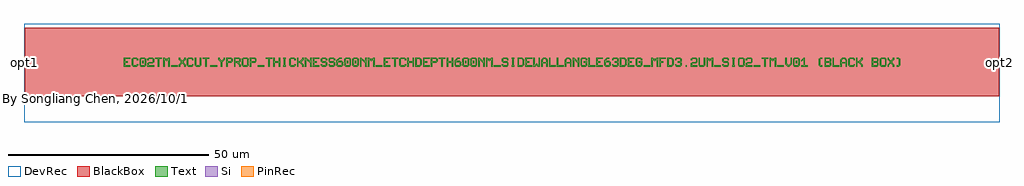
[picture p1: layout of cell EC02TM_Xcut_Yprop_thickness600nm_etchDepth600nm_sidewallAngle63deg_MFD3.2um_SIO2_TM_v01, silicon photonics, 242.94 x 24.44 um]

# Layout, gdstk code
import gdstk
lib = gdstk.Library(unit=1e-6, precision=1e-10)
def R(c, l, rs):  # rectangles x0, y0, x1, y1
    for r in rs: c.add(gdstk.rectangle(r[:2], r[2:], *l))
def A(c, l, x, y, w, h, nx, ny, dx, dy):  # array of equal rectangles
    R(c, l, [(x+i*dx, y+j*dy, x+i*dx+w, y+j*dy+h) for i in range(nx) for j in range(ny)])
def P(c, l, *ps):  # polygons
    for p in ps: c.add(gdstk.Polygon(p, *l))
Si = (1, 0)
PinRec = (1, 10)
Text = (10, 0)
DevRec = (68, 0)
BlackBox = (998, 0)

text_1 = lib.new_cell('TEXT$1')
A(text_1, Text, 33.32, 0, 1.633, 0.327, 3, 1, 29.4, 0)
R(text_1, Text, [(11.76,0,13.393,0.327), (21.56,0,23.193,0.327), (129.36,0,130.993,0.327), (139.813,0,140.14,0.327), (147,0,148.633,0.327), (156.8,0,158.433,0.327), (162.68,0,164.313,0.327), (4.573,0.817,4.9,1.47), (55.533,0.817,55.86,1.47), (57.493,0.817,57.82,1.47), (84.933,0.817,85.26,1.47), (86.893,0.817,87.22,1.47), (167.253,0.817,167.58,1.47)])
P(text_1, Text, [(96.53,0),(96.53,0.327),(96.693,0.327),(96.693,1.96),(96.53,1.96),(96.53,2.286),(97.183,2.286),(97.183,1.96),(97.02,1.96),(97.02,0.327),(97.183,0.327),(97.183,0)],
  [(98,0),(98,2.286),(99.143,2.286),(99.47,1.96),(98.327,1.96),(98.327,0.327),(98.98,0.327),(99.307,0.653),(99.307,1.633),(98.98,1.96),(99.47,1.96),(99.633,1.796),(99.633,0.49),(99.143,0)],
  [(99.96,0),(99.96,2.286),(101.593,2.286),(101.593,1.96),(100.287,1.96),(100.287,1.307),(100.94,1.307),(100.94,0.98),(100.287,0.98),(100.287,0.327),(101.593,0.327),(101.593,0)],
  [(101.92,0),(101.92,2.286),(102.247,2.286),(102.247,0.49),(102.41,0.49),(102.737,0.817),(103.063,0.49),(103.227,0.49),(103.227,2.286),(103.553,2.286),(103.553,0),(103.063,0),(102.737,0.327),(102.41,0)],
  [(103.88,0),(103.88,1.796),(104.37,2.286),(105.023,2.286),(105.35,1.96),(104.533,1.96),(104.207,1.633),(104.207,1.143),(105.187,1.143),(105.187,1.633),(104.86,1.96),(105.35,1.96),(105.513,1.796),(105.513,0),(105.187,0),(105.187,0.817),(104.207,0.817),(104.207,0)],
  [(105.84,0),(105.84,2.286),(106.167,2.286),(106.167,0.327),(107.473,0.327),(107.473,0)],
  [(107.8,0),(107.8,2.286),(108.127,2.286),(108.127,0.327),(109.433,0.327),(109.433,0)],
  [(109.76,0),(109.76,1.796),(110.25,2.286),(110.903,2.286),(111.23,1.96),(110.413,1.96),(110.087,1.633),(110.087,1.143),(111.067,1.143),(111.067,1.633),(110.74,1.96),(111.23,1.96),(111.393,1.796),(111.393,0),(111.067,0),(111.067,0.817),(110.087,0.817),(110.087,0)],
  [(111.72,0),(111.72,2.286),(112.047,2.286),(112.863,1.47),(113.027,1.47),(113.027,2.286),(113.353,2.286),(113.353,0),(113.027,0),(113.027,0.817),(112.21,1.633),(112.047,1.633),(112.047,0)],
  [(114.007,0),(113.68,0.327),(113.68,1.96),(114.007,2.286),(114.987,2.286),(115.313,1.96),(115.313,1.633),(114.987,1.633),(114.987,1.796),(114.823,1.96),(114.17,1.96),(114.007,1.796),(114.007,0.49),(114.17,0.327),(114.823,0.327),(114.987,0.49),(114.987,0.98),(114.497,0.98),(114.497,1.307),(115.313,1.307),(115.313,0.327),(114.987,0)],
  [(115.64,0),(115.64,2.286),(115.967,2.286),(115.967,0.327),(117.273,0.327),(117.273,0)],
  [(117.6,0),(117.6,2.286),(119.233,2.286),(119.233,1.96),(117.927,1.96),(117.927,1.307),(118.58,1.307),(118.58,0.98),(117.927,0.98),(117.927,0.327),(119.233,0.327),(119.233,0)],
  [(119.887,0),(119.56,0.327),(119.56,1.633),(120.213,2.286),(120.867,2.286),(120.867,1.96),(120.377,1.96),(120.05,1.633),(120.05,1.47),(120.867,1.47),(121.193,1.143),(120.05,1.143),(119.887,0.98),(119.887,0.49),(120.05,0.327),(120.703,0.327),(120.867,0.49),(120.867,0.98),(120.703,1.143),(121.193,1.143),(121.193,0.327),(120.867,0)],
  [(121.847,0),(121.52,0.327),(121.52,0.653),(121.847,0.653),(121.847,0.49),(122.01,0.327),(122.663,0.327),(122.827,0.49),(122.827,0.817),(122.663,0.98),(122.173,0.98),(122.173,1.307),(122.663,1.307),(122.827,1.47),(122.827,1.796),(122.663,1.96),(122.01,1.96),(121.847,1.796),(121.847,1.633),(121.52,1.633),(121.52,1.96),(121.847,2.286),(122.827,2.286),(123.153,1.96),(123.153,1.307),(122.99,1.143),(123.153,0.98),(123.153,0.327),(122.827,0)],
  [(123.48,0),(123.48,2.286),(124.623,2.286),(124.95,1.96),(123.807,1.96),(123.807,0.327),(124.46,0.327),(124.787,0.653),(124.787,1.633),(124.46,1.96),(124.95,1.96),(125.113,1.796),(125.113,0.49),(124.623,0)],
  [(125.44,0),(125.44,2.286),(127.073,2.286),(127.073,1.96),(125.767,1.96),(125.767,1.307),(126.42,1.307),(126.42,0.98),(125.767,0.98),(125.767,0.327),(127.073,0.327),(127.073,0)],
  [(127.727,0),(127.4,0.327),(127.4,1.96),(127.727,2.286),(128.707,2.286),(129.033,1.96),(129.033,1.633),(128.707,1.633),(128.707,1.796),(128.543,1.96),(127.89,1.96),(127.727,1.796),(127.727,0.49),(127.89,0.327),(128.543,0.327),(128.707,0.49),(128.707,0.98),(128.217,0.98),(128.217,1.307),(129.033,1.307),(129.033,0.327),(128.707,0)],
  [(131.32,0),(131.32,2.286),(131.647,2.286),(131.973,1.96),(132.3,1.96),(132.627,2.286),(132.953,2.286),(132.953,0),(132.627,0),(132.627,1.633),(132.463,1.633),(132.137,1.307),(131.81,1.633),(131.647,1.633),(131.647,0)],
  [(133.28,0),(133.28,2.286),(134.913,2.286),(134.913,1.96),(133.607,1.96),(133.607,1.307),(134.26,1.307),(134.26,0.98),(133.607,0.98),(133.607,0)],
  [(135.24,0),(135.24,2.286),(136.383,2.286),(136.71,1.96),(135.567,1.96),(135.567,0.327),(136.22,0.327),(136.547,0.653),(136.547,1.633),(136.22,1.96),(136.71,1.96),(136.873,1.796),(136.873,0.49),(136.383,0)],
  [(137.527,0),(137.2,0.327),(137.2,0.653),(137.527,0.653),(137.527,0.49),(137.69,0.327),(138.343,0.327),(138.507,0.49),(138.507,0.817),(138.343,0.98),(137.853,0.98),(137.853,1.307),(138.343,1.307),(138.507,1.47),(138.507,1.796),(138.343,1.96),(137.69,1.96),(137.527,1.796),(137.527,1.633),(137.2,1.633),(137.2,1.96),(137.527,2.286),(138.507,2.286),(138.833,1.96),(138.833,1.307),(138.67,1.143),(138.833,0.98),(138.833,0.327),(138.507,0)],
  [(141.12,0),(141.12,0.817),(141.447,1.143),(142.263,1.143),(142.427,1.307),(142.427,1.796),(142.263,1.96),(141.61,1.96),(141.447,1.796),(141.447,1.633),(141.12,1.633),(141.12,1.96),(141.447,2.286),(142.427,2.286),(142.753,1.96),(142.753,1.143),(142.427,0.817),(141.61,0.817),(141.447,0.653),(141.447,0.327),(142.753,0.327),(142.753,0)],
  [(143.407,0),(143.08,0.327),(143.08,2.286),(143.407,2.286),(143.407,0.49),(143.57,0.327),(144.223,0.327),(144.387,0.49),(144.387,2.286),(144.713,2.286),(144.713,0.327),(144.387,0)],
  [(145.04,0),(145.04,2.286),(145.367,2.286),(145.693,1.96),(146.02,1.96),(146.347,2.286),(146.673,2.286),(146.673,0),(146.347,0),(146.347,1.633),(146.183,1.633),(145.857,1.307),(145.53,1.633),(145.367,1.633),(145.367,0)],
  [(149.287,0),(148.96,0.327),(148.96,0.653),(149.287,0.653),(149.287,0.49),(149.45,0.327),(150.103,0.327),(150.267,0.49),(150.267,0.817),(150.103,0.98),(149.287,0.98),(148.96,1.307),(148.96,1.96),(149.287,2.286),(150.267,2.286),(150.593,1.96),(150.593,1.633),(150.267,1.633),(150.267,1.796),(150.103,1.96),(149.45,1.96),(149.287,1.796),(149.287,1.47),(149.45,1.307),(150.267,1.307),(150.593,0.98),(150.593,0.327),(150.267,0)],
  [(151.41,0),(151.41,0.327),(151.573,0.327),(151.573,1.96),(151.41,1.96),(151.41,2.286),(152.063,2.286),(152.063,1.96),(151.9,1.96),(151.9,0.327),(152.063,0.327),(152.063,0)],
  [(153.207,0),(152.88,0.327),(152.88,1.96),(153.207,2.286),(154.187,2.286),(154.513,1.96),(154.513,1.143),(154.187,1.143),(154.187,1.796),(154.023,1.96),(153.37,1.96),(153.207,1.796),(153.207,0.49),(153.37,0.327),(154.023,0.327),(154.187,0.49),(154.187,1.143),(154.513,1.143),(154.513,0.327),(154.187,0)],
  [(154.84,0),(154.84,0.817),(155.167,1.143),(155.983,1.143),(156.147,1.307),(156.147,1.796),(155.983,1.96),(155.33,1.96),(155.167,1.796),(155.167,1.633),(154.84,1.633),(154.84,1.96),(155.167,2.286),(156.147,2.286),(156.473,1.96),(156.473,1.143),(156.147,0.817),(155.33,0.817),(155.167,0.653),(155.167,0.327),(156.473,0.327),(156.473,0)],
  [(159.413,0),(159.413,1.96),(158.76,1.96),(158.76,2.286),(160.393,2.286),(160.393,1.96),(159.74,1.96),(159.74,0)],
  [(160.72,0),(160.72,2.286),(161.047,2.286),(161.373,1.96),(161.7,1.96),(162.027,2.286),(162.353,2.286),(162.353,0),(162.027,0),(162.027,1.633),(161.863,1.633),(161.537,1.307),(161.21,1.633),(161.047,1.633),(161.047,0)],
  [(165.293,0),(164.64,0.653),(164.64,2.286),(164.967,2.286),(164.967,0.817),(165.457,0.327),(165.947,0.817),(165.947,2.286),(166.273,2.286),(166.273,0.653),(165.62,0)],
  [(166.927,0),(166.6,0.327),(166.6,1.96),(166.927,2.286),(167.907,2.286),(168.233,1.96),(167.09,1.96),(166.927,1.796),(166.927,0.49),(167.09,0.327),(167.743,0.327),(167.907,0.49),(167.907,1.796),(167.743,1.96),(168.233,1.96),(168.233,0.327),(167.907,0)],
  [(168.56,0),(168.56,0.327),(169.213,0.327),(169.213,1.633),(169.05,1.633),(168.723,1.307),(168.56,1.307),(168.56,1.633),(169.213,2.286),(169.54,2.286),(169.54,0.327),(170.193,0.327),(170.193,0)],
  [(173.297,0),(172.97,0.327),(172.97,1.96),(173.297,2.286),(173.787,2.286),(173.787,1.96),(173.46,1.96),(173.297,1.796),(173.297,0.49),(173.46,0.327),(173.787,0.327),(173.787,0)],
  [(174.44,0),(174.44,2.286),(175.747,2.286),(176.073,1.96),(174.767,1.96),(174.767,1.307),(175.583,1.307),(175.747,1.47),(175.747,1.796),(175.583,1.96),(176.073,1.96),(176.073,1.307),(175.91,1.143),(176.073,0.98),(174.767,0.98),(174.767,0.327),(175.583,0.327),(175.747,0.49),(175.747,0.817),(175.583,0.98),(176.073,0.98),(176.073,0.327),(175.747,0)],
  [(176.4,0),(176.4,2.286),(176.727,2.286),(176.727,0.327),(178.033,0.327),(178.033,0)],
  [(178.36,0),(178.36,1.796),(178.85,2.286),(179.503,2.286),(179.83,1.96),(179.013,1.96),(178.687,1.633),(178.687,1.143),(179.667,1.143),(179.667,1.633),(179.34,1.96),(179.83,1.96),(179.993,1.796),(179.993,0),(179.667,0),(179.667,0.817),(178.687,0.817),(178.687,0)],
  [(180.647,0),(180.32,0.327),(180.32,1.96),(180.647,2.286),(181.627,2.286),(181.953,1.96),(181.953,1.633),(181.627,1.633),(181.627,1.796),(181.463,1.96),(180.81,1.96),(180.647,1.796),(180.647,0.49),(180.81,0.327),(181.463,0.327),(181.627,0.49),(181.627,0.653),(181.953,0.653),(181.953,0.327),(181.627,0)],
  [(182.28,0),(182.28,2.286),(182.607,2.286),(182.607,1.307),(182.933,1.307),(183.587,1.96),(183.587,2.286),(183.913,2.286),(183.913,1.796),(183.26,1.143),(183.913,0.49),(183.913,0),(183.587,0),(183.587,0.327),(182.933,0.98),(182.607,0.98),(182.607,0)],
  [(186.2,0),(186.2,2.286),(187.507,2.286),(187.833,1.96),(186.527,1.96),(186.527,1.307),(187.343,1.307),(187.507,1.47),(187.507,1.796),(187.343,1.96),(187.833,1.96),(187.833,1.307),(187.67,1.143),(187.833,0.98),(186.527,0.98),(186.527,0.327),(187.343,0.327),(187.507,0.49),(187.507,0.817),(187.343,0.98),(187.833,0.98),(187.833,0.327),(187.507,0)],
  [(188.487,0),(188.16,0.327),(188.16,1.96),(188.487,2.286),(189.467,2.286),(189.793,1.96),(189.793,1.143),(189.467,1.143),(189.467,1.796),(189.303,1.96),(188.65,1.96),(188.487,1.796),(188.487,0.49),(188.65,0.327),(189.303,0.327),(189.467,0.49),(189.467,1.143),(189.793,1.143),(189.793,0.327),(189.467,0)],
  [(190.12,0),(190.12,0.49),(190.61,0.98),(190.61,1.307),(190.12,1.796),(190.12,2.286),(190.447,2.286),(190.447,1.96),(190.937,1.47),(191.427,1.96),(191.427,2.286),(191.753,2.286),(191.753,1.796),(191.263,1.307),(191.263,0.98),(191.753,0.49),(191.753,0),(191.427,0),(191.427,0.327),(190.937,0.817),(190.447,0.327),(190.447,0)],
  [(192.407,0),(192.407,0.327),(192.733,0.327),(192.897,0.49),(192.897,1.796),(192.733,1.96),(192.407,1.96),(192.407,2.286),(192.897,2.286),(193.223,1.96),(193.223,0.327),(192.897,0)],
  [(88.2,0),(88.2,2.286),(88.527,2.286),(89.343,1.47),(89.507,1.47),(89.507,2.286),(89.833,2.286),(89.833,0),(89.507,0),(89.507,0.817),(88.69,1.633),(88.527,1.633),(88.527,0)],
  [(90.16,0),(90.16,2.286),(90.487,2.286),(90.813,1.96),(91.14,1.96),(91.467,2.286),(91.793,2.286),(91.793,0),(91.467,0),(91.467,1.633),(91.303,1.633),(90.977,1.307),(90.65,1.633),(90.487,1.633),(90.487,0)],
  [(94.407,0),(94.08,0.327),(94.08,0.653),(94.407,0.653),(94.407,0.49),(94.57,0.327),(95.223,0.327),(95.387,0.49),(95.387,0.817),(95.223,0.98),(94.407,0.98),(94.08,1.307),(94.08,1.96),(94.407,2.286),(95.387,2.286),(95.713,1.96),(95.713,1.633),(95.387,1.633),(95.387,1.796),(95.223,1.96),(94.57,1.96),(94.407,1.796),(94.407,1.47),(94.57,1.307),(95.387,1.307),(95.713,0.98),(95.713,0.327),(95.387,0)],
  [(0,0),(0,2.286),(1.633,2.286),(1.633,1.96),(0.327,1.96),(0.327,1.307),(0.98,1.307),(0.98,0.98),(0.327,0.98),(0.327,0.327),(1.633,0.327),(1.633,0)],
  [(2.287,0),(1.96,0.327),(1.96,1.96),(2.287,2.286),(3.267,2.286),(3.593,1.96),(3.593,1.633),(3.267,1.633),(3.267,1.796),(3.103,1.96),(2.45,1.96),(2.287,1.796),(2.287,0.49),(2.45,0.327),(3.103,0.327),(3.267,0.49),(3.267,0.653),(3.593,0.653),(3.593,0.327),(3.267,0)],
  [(4.247,0),(3.92,0.327),(3.92,1.96),(4.247,2.286),(5.227,2.286),(5.553,1.96),(4.41,1.96),(4.247,1.796),(4.247,0.49),(4.41,0.327),(5.063,0.327),(5.227,0.49),(5.227,1.796),(5.063,1.96),(5.553,1.96),(5.553,0.327),(5.227,0)],
  [(5.88,0),(5.88,0.817),(6.207,1.143),(7.023,1.143),(7.187,1.307),(7.187,1.796),(7.023,1.96),(6.37,1.96),(6.207,1.796),(6.207,1.633),(5.88,1.633),(5.88,1.96),(6.207,2.286),(7.187,2.286),(7.513,1.96),(7.513,1.143),(7.187,0.817),(6.37,0.817),(6.207,0.653),(6.207,0.327),(7.513,0.327),(7.513,0)],
  [(8.493,0),(8.493,1.96),(7.84,1.96),(7.84,2.286),(9.473,2.286),(9.473,1.96),(8.82,1.96),(8.82,0)],
  [(9.8,0),(9.8,2.286),(10.127,2.286),(10.453,1.96),(10.78,1.96),(11.107,2.286),(11.433,2.286),(11.433,0),(11.107,0),(11.107,1.633),(10.943,1.633),(10.617,1.307),(10.29,1.633),(10.127,1.633),(10.127,0)],
  [(13.72,0),(13.72,0.49),(14.21,0.98),(14.21,1.307),(13.72,1.796),(13.72,2.286),(14.047,2.286),(14.047,1.96),(14.537,1.47),(15.027,1.96),(15.027,2.286),(15.353,2.286),(15.353,1.796),(14.863,1.307),(14.863,0.98),(15.353,0.49),(15.353,0),(15.027,0),(15.027,0.327),(14.537,0.817),(14.047,0.327),(14.047,0)],
  [(16.007,0),(15.68,0.327),(15.68,1.96),(16.007,2.286),(16.987,2.286),(17.313,1.96),(17.313,1.633),(16.987,1.633),(16.987,1.796),(16.823,1.96),(16.17,1.96),(16.007,1.796),(16.007,0.49),(16.17,0.327),(16.823,0.327),(16.987,0.49),(16.987,0.653),(17.313,0.653),(17.313,0.327),(16.987,0)],
  [(17.967,0),(17.64,0.327),(17.64,2.286),(17.967,2.286),(17.967,0.49),(18.13,0.327),(18.783,0.327),(18.947,0.49),(18.947,2.286),(19.273,2.286),(19.273,0.327),(18.947,0)],
  [(20.253,0),(20.253,1.96),(19.6,1.96),(19.6,2.286),(21.233,2.286),(21.233,1.96),(20.58,1.96),(20.58,0)],
  [(24.173,0),(24.173,1.143),(23.52,1.796),(23.52,2.286),(23.847,2.286),(23.847,1.96),(24.337,1.47),(24.827,1.96),(24.827,2.286),(25.153,2.286),(25.153,1.796),(24.5,1.143),(24.5,0)],
  [(25.48,0),(25.48,2.286),(26.787,2.286),(27.113,1.96),(27.113,1.307),(26.787,0.98),(25.807,0.98),(25.807,1.307),(26.623,1.307),(26.787,1.47),(26.787,1.796),(26.623,1.96),(25.807,1.96),(25.807,0)],
  [(27.44,0),(27.44,2.286),(28.747,2.286),(29.073,1.96),(27.767,1.96),(27.767,1.307),(28.583,1.307),(28.747,1.47),(28.747,1.796),(28.583,1.96),(29.073,1.96),(29.073,1.307),(28.747,0.98),(28.747,0.817),(29.073,0.49),(29.073,0),(28.747,0),(28.747,0.327),(28.093,0.98),(27.767,0.98),(27.767,0)],
  [(29.727,0),(29.4,0.327),(29.4,1.96),(29.727,2.286),(30.707,2.286),(31.033,1.96),(31.033,1.143),(30.707,1.143),(30.707,1.796),(30.543,1.96),(29.89,1.96),(29.727,1.796),(29.727,0.49),(29.89,0.327),(30.543,0.327),(30.707,0.49),(30.707,1.143),(31.033,1.143),(31.033,0.327),(30.707,0)],
  [(31.36,0),(31.36,2.286),(32.667,2.286),(32.993,1.96),(32.993,1.307),(32.667,0.98),(31.687,0.98),(31.687,1.307),(32.503,1.307),(32.667,1.47),(32.667,1.796),(32.503,1.96),(31.687,1.96),(31.687,0)],
  [(35.933,0),(35.933,1.96),(35.28,1.96),(35.28,2.286),(36.913,2.286),(36.913,1.96),(36.26,1.96),(36.26,0)],
  [(37.24,0),(37.24,2.286),(37.567,2.286),(37.567,1.307),(38.547,1.307),(38.547,2.286),(38.873,2.286),(38.873,0),(38.547,0),(38.547,0.98),(37.567,0.98),(37.567,0)],
  [(39.69,0),(39.69,0.327),(39.853,0.327),(39.853,1.96),(39.69,1.96),(39.69,2.286),(40.343,2.286),(40.343,1.96),(40.18,1.96),(40.18,0.327),(40.343,0.327),(40.343,0)],
  [(41.487,0),(41.16,0.327),(41.16,1.96),(41.487,2.286),(42.467,2.286),(42.793,1.96),(42.793,1.633),(42.467,1.633),(42.467,1.796),(42.303,1.96),(41.65,1.96),(41.487,1.796),(41.487,0.49),(41.65,0.327),(42.303,0.327),(42.467,0.49),(42.467,0.653),(42.793,0.653),(42.793,0.327),(42.467,0)],
  [(43.12,0),(43.12,2.286),(43.447,2.286),(43.447,1.307),(43.773,1.307),(44.427,1.96),(44.427,2.286),(44.753,2.286),(44.753,1.796),(44.1,1.143),(44.753,0.49),(44.753,0),(44.427,0),(44.427,0.327),(43.773,0.98),(43.447,0.98),(43.447,0)],
  [(45.08,0),(45.08,2.286),(45.407,2.286),(46.223,1.47),(46.387,1.47),(46.387,2.286),(46.713,2.286),(46.713,0),(46.387,0),(46.387,0.817),(45.57,1.633),(45.407,1.633),(45.407,0)],
  [(47.04,0),(47.04,2.286),(48.673,2.286),(48.673,1.96),(47.367,1.96),(47.367,1.307),(48.02,1.307),(48.02,0.98),(47.367,0.98),(47.367,0.327),(48.673,0.327),(48.673,0)],
  [(49.327,0),(49,0.327),(49,0.653),(49.327,0.653),(49.327,0.49),(49.49,0.327),(50.143,0.327),(50.307,0.49),(50.307,0.817),(50.143,0.98),(49.327,0.98),(49,1.307),(49,1.96),(49.327,2.286),(50.307,2.286),(50.633,1.96),(50.633,1.633),(50.307,1.633),(50.307,1.796),(50.143,1.96),(49.49,1.96),(49.327,1.796),(49.327,1.47),(49.49,1.307),(50.307,1.307),(50.633,0.98),(50.633,0.327),(50.307,0)],
  [(51.287,0),(50.96,0.327),(50.96,0.653),(51.287,0.653),(51.287,0.49),(51.45,0.327),(52.103,0.327),(52.267,0.49),(52.267,0.817),(52.103,0.98),(51.287,0.98),(50.96,1.307),(50.96,1.96),(51.287,2.286),(52.267,2.286),(52.593,1.96),(52.593,1.633),(52.267,1.633),(52.267,1.796),(52.103,1.96),(51.45,1.96),(51.287,1.796),(51.287,1.47),(51.45,1.307),(52.267,1.307),(52.593,0.98),(52.593,0.327),(52.267,0)],
  [(53.247,0),(52.92,0.327),(52.92,1.633),(53.573,2.286),(54.227,2.286),(54.227,1.96),(53.737,1.96),(53.41,1.633),(53.41,1.47),(54.227,1.47),(54.553,1.143),(53.41,1.143),(53.247,0.98),(53.247,0.49),(53.41,0.327),(54.063,0.327),(54.227,0.49),(54.227,0.98),(54.063,1.143),(54.553,1.143),(54.553,0.327),(54.227,0)],
  [(55.207,0),(54.88,0.327),(54.88,1.96),(55.207,2.286),(56.187,2.286),(56.513,1.96),(55.37,1.96),(55.207,1.796),(55.207,0.49),(55.37,0.327),(56.023,0.327),(56.187,0.49),(56.187,1.796),(56.023,1.96),(56.513,1.96),(56.513,0.327),(56.187,0)],
  [(57.167,0),(56.84,0.327),(56.84,1.96),(57.167,2.286),(58.147,2.286),(58.473,1.96),(57.33,1.96),(57.167,1.796),(57.167,0.49),(57.33,0.327),(57.983,0.327),(58.147,0.49),(58.147,1.796),(57.983,1.96),(58.473,1.96),(58.473,0.327),(58.147,0)],
  [(58.8,0),(58.8,2.286),(59.127,2.286),(59.943,1.47),(60.107,1.47),(60.107,2.286),(60.433,2.286),(60.433,0),(60.107,0),(60.107,0.817),(59.29,1.633),(59.127,1.633),(59.127,0)],
  [(60.76,0),(60.76,2.286),(61.087,2.286),(61.413,1.96),(61.74,1.96),(62.067,2.286),(62.393,2.286),(62.393,0),(62.067,0),(62.067,1.633),(61.903,1.633),(61.577,1.307),(61.25,1.633),(61.087,1.633),(61.087,0)],
  [(64.68,0),(64.68,2.286),(66.313,2.286),(66.313,1.96),(65.007,1.96),(65.007,1.307),(65.66,1.307),(65.66,0.98),(65.007,0.98),(65.007,0.327),(66.313,0.327),(66.313,0)],
  [(67.293,0),(67.293,1.96),(66.64,1.96),(66.64,2.286),(68.273,2.286),(68.273,1.96),(67.62,1.96),(67.62,0)],
  [(68.927,0),(68.6,0.327),(68.6,1.96),(68.927,2.286),(69.907,2.286),(70.233,1.96),(70.233,1.633),(69.907,1.633),(69.907,1.796),(69.743,1.96),(69.09,1.96),(68.927,1.796),(68.927,0.49),(69.09,0.327),(69.743,0.327),(69.907,0.49),(69.907,0.653),(70.233,0.653),(70.233,0.327),(69.907,0)],
  [(70.56,0),(70.56,2.286),(70.887,2.286),(70.887,1.307),(71.867,1.307),(71.867,2.286),(72.193,2.286),(72.193,0),(71.867,0),(71.867,0.98),(70.887,0.98),(70.887,0)],
  [(72.52,0),(72.52,2.286),(73.663,2.286),(73.99,1.96),(72.847,1.96),(72.847,0.327),(73.5,0.327),(73.827,0.653),(73.827,1.633),(73.5,1.96),(73.99,1.96),(74.153,1.796),(74.153,0.49),(73.663,0)],
  [(74.48,0),(74.48,2.286),(76.113,2.286),(76.113,1.96),(74.807,1.96),(74.807,1.307),(75.46,1.307),(75.46,0.98),(74.807,0.98),(74.807,0.327),(76.113,0.327),(76.113,0)],
  [(76.44,0),(76.44,2.286),(77.747,2.286),(78.073,1.96),(78.073,1.307),(77.747,0.98),(76.767,0.98),(76.767,1.307),(77.583,1.307),(77.747,1.47),(77.747,1.796),(77.583,1.96),(76.767,1.96),(76.767,0)],
  [(79.053,0),(79.053,1.96),(78.4,1.96),(78.4,2.286),(80.033,2.286),(80.033,1.96),(79.38,1.96),(79.38,0)],
  [(80.36,0),(80.36,2.286),(80.687,2.286),(80.687,1.307),(81.667,1.307),(81.667,2.286),(81.993,2.286),(81.993,0),(81.667,0),(81.667,0.98),(80.687,0.98),(80.687,0)],
  [(82.647,0),(82.32,0.327),(82.32,1.633),(82.973,2.286),(83.627,2.286),(83.627,1.96),(83.137,1.96),(82.81,1.633),(82.81,1.47),(83.627,1.47),(83.953,1.143),(82.81,1.143),(82.647,0.98),(82.647,0.49),(82.81,0.327),(83.463,0.327),(83.627,0.49),(83.627,0.98),(83.463,1.143),(83.953,1.143),(83.953,0.327),(83.627,0)],
  [(84.607,0),(84.28,0.327),(84.28,1.96),(84.607,2.286),(85.587,2.286),(85.913,1.96),(84.77,1.96),(84.607,1.796),(84.607,0.49),(84.77,0.327),(85.423,0.327),(85.587,0.49),(85.587,1.796),(85.423,1.96),(85.913,1.96),(85.913,0.327),(85.587,0)],
  [(86.567,0),(86.24,0.327),(86.24,1.96),(86.567,2.286),(87.547,2.286),(87.873,1.96),(86.73,1.96),(86.567,1.796),(86.567,0.49),(86.73,0.327),(87.383,0.327),(87.547,0.49),(87.547,1.796),(87.383,1.96),(87.873,1.96),(87.873,0.327),(87.547,0)])

ec02tm_xcut_yprop_thickn = lib.new_cell('EC02TM_Xcut_Yprop_thickness600nm_etchDepth600nm_sidewallAngle63deg_MFD3.2um_SIO2_TM_v01')
R(ec02tm_xcut_yprop_thickn, Si, [(-121.4601,-1.4421,-121.2601,1.4421), (121.26,-0.7,121.46,0.7)])
R(ec02tm_xcut_yprop_thickn, DevRec, [(-121.4601,-14.9189,121.46,9.5189)])
R(ec02tm_xcut_yprop_thickn, BlackBox, [(-121.2601,-8.5189,121.26,8.5189)])
ec02tm_xcut_yprop_thickn.add(gdstk.FlexPath([(-121.4501,0),(-121.4701,0)], 2.8842, ends="flush", simple_path=True, layer=1, datatype=10))  # PinRec
ec02tm_xcut_yprop_thickn.add(gdstk.FlexPath([(121.45,0),(121.47,0)], 1.4, ends="flush", simple_path=True, layer=1, datatype=10))  # PinRec
ec02tm_xcut_yprop_thickn.add(gdstk.Reference(text_1, (-96.6116,-1.143)))
ec02tm_xcut_yprop_thickn.add(gdstk.Label('By Songliang Chen, 2026/10/13', (-120.9601,-9.0189), layer=10, texttype=0))
ec02tm_xcut_yprop_thickn.add(gdstk.Label('opt1', (-121.4601,0), layer=1, texttype=10))
ec02tm_xcut_yprop_thickn.add(gdstk.Label('opt2', (121.46,0), layer=1, texttype=10))

lib.write_gds('EC02TM_Xcut_Yprop_thickness600nm_etchDepth600nm_sidewallAngle63deg_MFD3.2um_SIO2_TM_v01.gds')
